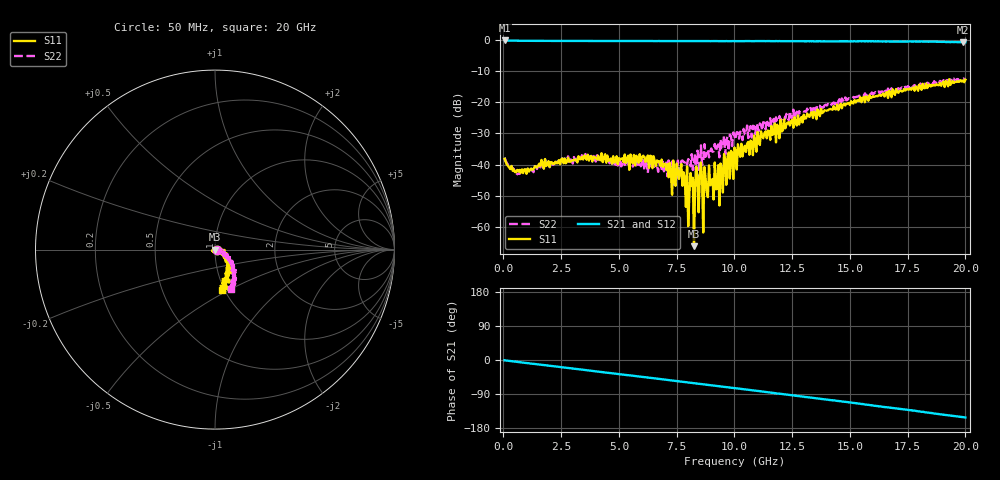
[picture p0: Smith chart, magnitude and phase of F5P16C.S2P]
! FILE NAME
! DATE 05/07/2008  07:37
! CORRECTED  DATA
# GHz  S  MA  R  50.00
!  FREQ  S11M  S11A  S21M  S21A  S12M  S12A  S22M  S22A
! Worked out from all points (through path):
!   400 points, 50 MHz to 20 GHz, reference 50 ohm
!   highest |S21| = -0.17 dB at 50 MHz (marker M1); lowest = -0.8 dB at 19.9 GHz (marker M2)
!   group delay of S21, straight-line fit = 20.9 ps
!   lowest |S11| = -66.1 dB at 8.25 GHz (marker M3), VSWR 1.00, Z = 50 - j0.042 ohm
!   |S11| at or under -10 dB: start of sweep to end of sweep
!   |S22| runs from -46.6 to -12.4 dB; largest |S21 - S12| = 0.019
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0.05  0.01242 -15.3  0.9802 -0.8  0.9808 -0.7  0.01296 -21.1
3.4  0.01336 -124.4  0.9617 -25.4  0.9624 -25.3  0.01418 -116.1
6.7  0.01111 -171.7  0.9596 -49.7  0.9566 -49.6  0.007662 -81.7
7.7  0.01025 151.7  0.9589 -57.0  0.9572 -57.0  0.01147 -60.2
7.9  0.002108 -5.0  0.9586 -58.5  0.9598 -58.4  0.01162 -72.9
7.95  0.009412 162.2  0.9581 -58.8  0.9573 -58.8  0.01002 -34.2
8  0.00103 -171.8  0.957 -59.3  0.9572 -59.1  0.0123 -69.6
8.2  0.006155 174.7  0.9584 -60.6  0.9573 -60.7  0.008228 -38.8
8.25  0.0004938 -121.7  0.9583 -61.1  0.9587 -61.0  0.01039 -43.7
8.35  0.009346 -156.3  0.9577 -61.8  0.9573 -61.7  0.0047 -44.4
8.45  0.001725 127.2  0.9578 -62.7  0.9578 -62.6  0.01238 -58.5
8.55  0.01079 66.1  0.9587 -63.4  0.9585 -63.4  0.02039 -36.5
8.65  0.0008183 0.4  0.9586 -64.1  0.9578 -64.0  0.01131 -37.7
8.7  0.009181 89.3  0.9596 -64.4  0.9559 -64.4  0.02134 -35.4
9.3  0.009824 -4.4  0.9547 -69.0  0.956 -68.8  0.02119 -37.1
9.35  0.002219 -114.0  0.9546 -69.3  0.9577 -69.2  0.01311 -18.5
9.4  0.01046 13.2  0.9565 -69.7  0.955 -69.5  0.02558 -33.6
10.05  0.01689 -16.2  0.9566 -74.4  0.9562 -74.2  0.02512 -15.1
13.35  0.06937 -42.4  0.9502 -99.5  0.9556 -99.3  0.07015 -20.3
16.7  0.1519 -54.2  0.9421 -125.3  0.9474 -125.5  0.1452 -49.4
19.9  0.2252 -80.5  0.9167 -150.8  0.9192 -151.1  0.2411 -66.1
20  0.2298 -80.4  0.9174 -151.6  0.9198 -151.9  0.2361 -67.1
